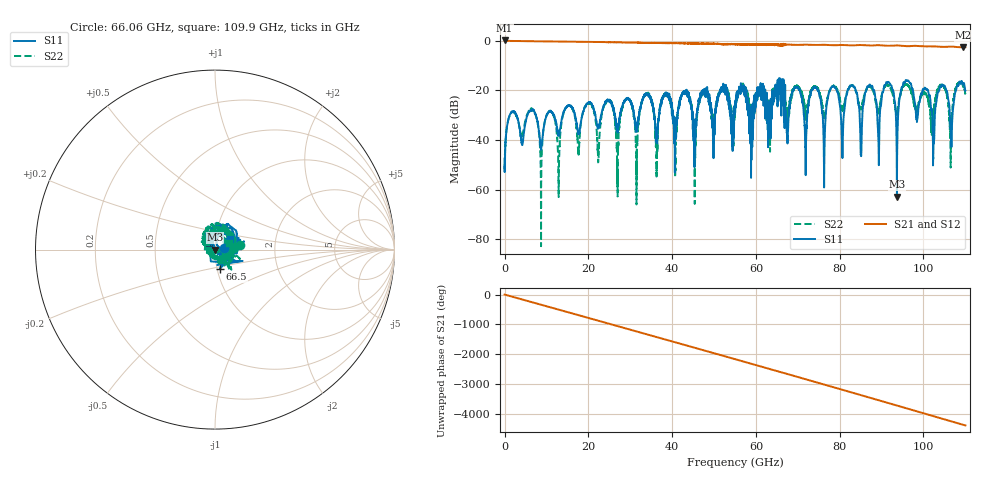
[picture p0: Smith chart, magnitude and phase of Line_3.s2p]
#  HZ  S  RI  R  50.00
! Rohde & Schwarz ZVA67 4Ports - Version 4.11 - 1305.7002k04 SN: 101032
! Date: 2026-02-18 15:32:16
! Measurements: S11 S21 S12 S22
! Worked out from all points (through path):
!   5500 points, 20 MHz to 110 GHz, reference 50 ohm
!   highest |S21| = 0.09 dB at 20 MHz (marker M1); lowest = -2.7 dB at 109.5 GHz (marker M2)
!   group delay of S21, straight-line fit = 111 ps
!   lowest |S11| = -62.8 dB at 93.66 GHz (marker M3), VSWR 1.00, Z = 49.9 + j0.0374 ohm
!   |S11| at or under -10 dB: start of sweep to end of sweep
!   |S22| runs from -82.8 to -16.4 dB; largest |S21 - S12| = 0.054
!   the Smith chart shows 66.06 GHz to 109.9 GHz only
!   S11 on the Smith chart (normalised r, x): 66.06 GHz: 1.11, +0.02; 66.5 GHz: 1.03, -0.23; 109.9 GHz: 1.17, +0.14
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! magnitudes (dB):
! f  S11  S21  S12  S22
! 20 MHz  -50.6  0.1  -0.1  -49.6
! 1.88 GHz  -28.6  -0.1  -0.1  -28.7
! 18.36 GHz  -31.6  -0.5  -0.5  -31.8
! 25 GHz  -24.2  -0.6  -0.7  -23.8
! 27 GHz  -36.2  -0.6  -0.6  -62.8
! 29.42 GHz  -23.6  -0.7  -0.8  -23.3
! 31.56 GHz  -36.3  -0.8  -0.8  -55.9
! 34.04 GHz  -21.6  -0.9  -0.9  -21.1
! 36.68 GHz  -32.7  -0.9  -0.9  -33.3
! 55.02 GHz  -29.1  -1.3  -1.3  -28.2
! 66.06 GHz  -25.7  -1.4  -1.6  -16.9
! 66.5 GHz  -19.1  -1.6  -1.7  -19.3
! 71.88 GHz  -54.2  -1.6  -1.6  -29.8
! 73.34 GHz  -19.7  -1.7  -1.7  -19.7
! 85.1 GHz  -45.9  -1.8  -1.8  -27.2
! 91.68 GHz  -16.6  -2.0  -2.1  -18.0
! 93.66 GHz  -62.8  -1.9  -1.9  -29.1
! 95.74 GHz  -15.9  -2.2  -2.2  -17.7
! 102.3 GHz  -46.8  -2.3  -2.3  -32.0
! 109.5 GHz  -17.3  -2.7  -2.7  -18.4
! 109.9 GHz  -19.9  -2.6  -2.6  -21.4
! 110 GHz  -20.1  -2.6  -2.6  -21.5
